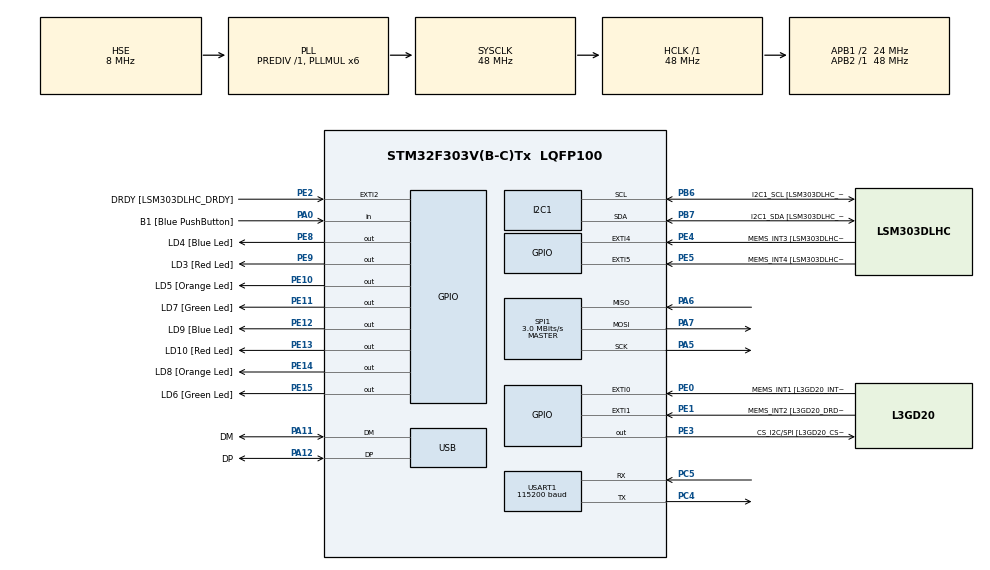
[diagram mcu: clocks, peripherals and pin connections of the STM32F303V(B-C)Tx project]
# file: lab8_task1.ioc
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I2C1.Timing=0x2000090E
I2C1.Timing-I2C=0x2000090E
Mcu.Family=STM32F3
Mcu.Name=STM32F303V(B-C)Tx
Mcu.Package=LQFP100
NVIC.PriorityGroup=NVIC_PRIORITYGROUP_0
NVIC.SPI1_IRQn=true\:0\:0\:false\:false\:true\:true\:true\:true
PA0.GPIO_Label=B1 [Blue PushButton]
PA0.Signal=GPIO_Input
PA11.GPIO_Label=DM
PA11.Mode=Device
PA11.Signal=USB_DM
PA12.GPIO_Label=DP
PA12.Mode=Device
PA12.Signal=USB_DP
PA13.GPIO_Label=SWDIO
PA13.Mode=Serial_Wire
PA13.Signal=SYS_JTMS-SWDIO
PA14.GPIO_Label=SWCLK
PA14.Mode=Serial_Wire
PA14.Signal=SYS_JTCK-SWCLK
PA5.GPIO_Mode=GPIO_MODE_AF_PP
PA5.GPIO_PuPd=GPIO_NOPULL
PA5.GPIO_Speed=GPIO_SPEED_FREQ_HIGH
PA5.Mode=Full_Duplex_Master
PA5.Signal=SPI1_SCK
PA6.GPIO_Mode=GPIO_MODE_AF_PP
PA6.GPIO_PuPd=GPIO_NOPULL
PA6.GPIO_Speed=GPIO_SPEED_FREQ_HIGH
PA6.Mode=Full_Duplex_Master
PA6.Signal=SPI1_MISO
PA7.GPIO_Mode=GPIO_MODE_AF_PP
PA7.GPIO_PuPd=GPIO_NOPULL
PA7.GPIO_Speed=GPIO_SPEED_FREQ_HIGH
PA7.Mode=Full_Duplex_Master
PA7.Signal=SPI1_MOSI
PB3.GPIO_Label=SWO
PB3.Signal=SYS_JTDO-TRACESWO
PB6.GPIO_Label=I2C1_SCL [LSM303DLHC_SCL]
PB6.GPIO_Pu=GPIO_PULLUP
PB6.Mode=I2C
PB6.Signal=I2C1_SCL
PB7.GPIO_Label=I2C1_SDA [LSM303DLHC_SDA]
PB7.GPIO_Pu=GPIO_PULLUP
PB7.Mode=I2C
PB7.Signal=I2C1_SDA
PC14-OSC32_IN.GPIO_Label=OSC32_IN
PC14-OSC32_IN.Signal=RCC_OSC32_IN
PC15-OSC32_OUT.GPIO_Label=OSC32_OUT
PC15-OSC32_OUT.Signal=RCC_OSC32_OUT
PC4.Mode=Asynchronous
PC4.Signal=USART1_TX
PC5.Mode=Asynchronous
PC5.Signal=USART1_RX
PE0.GPIO_Label=MEMS_INT1 [L3GD20_INT1]
PE0.GPIO_ModeDefaultEXTI=GPIO_MODE_EVT_RISING
PE0.Signal=GPXTI0
PE1.GPIO_Label=MEMS_INT2 [L3GD20_DRDY/INT2]
PE1.GPIO_ModeDefaultEXTI=GPIO_MODE_EVT_RISING
PE1.Signal=GPXTI1
PE10.GPIO_Label=LD5 [Orange Led]
PE10.Signal=GPIO_Output
PE11.GPIO_Label=LD7 [Green Led]
PE11.Signal=GPIO_Output
PE12.GPIO_Label=LD9 [Blue Led]
PE12.Signal=GPIO_Output
PE13.GPIO_Label=LD10 [Red Led]
PE13.Signal=GPIO_Output
PE14.GPIO_Label=LD8 [Orange Led]
PE14.Signal=GPIO_Output
PE15.GPIO_Label=LD6 [Green Led]
PE15.Signal=GPIO_Output
PE2.GPIO_Label=DRDY [LSM303DLHC_DRDY]
PE2.GPIO_ModeDefaultEXTI=GPIO_MODE_EVT_RISING
PE2.Signal=GPXTI2
PE3.GPIO_Label=CS_I2C/SPI [L3GD20_CS_I2C/SPI]
PE3.Signal=GPIO_Output
PE4.GPIO_Label=MEMS_INT3 [LSM303DLHC_INT1]
PE4.GPIO_ModeDefaultEXTI=GPIO_MODE_EVT_RISING
PE4.Signal=GPXTI4
PE5.GPIO_Label=MEMS_INT4 [LSM303DLHC_INT2]
PE5.GPIO_ModeDefaultEXTI=GPIO_MODE_EVT_RISING
PE5.Signal=GPXTI5
PE8.GPIO_Label=LD4 [Blue Led]
PE8.Signal=GPIO_Output
PE9.GPIO_Label=LD3 [Red Led]
PE9.Signal=GPIO_Output
PF0-OSC_IN.GPIO_Label=OSC_IN
PF0-OSC_IN.Mode=HSE-External-Clock-Source
PF0-OSC_IN.Signal=RCC_OSC_IN
PF1-OSC_OUT.GPIO_Label=OSC_OUT
PF1-OSC_OUT.Signal=RCC_OSC_OUT
ProjectManager.HeapSize=0x200
ProjectManager.StackSize=0x400
ProjectManager.TargetToolchain=CMake
RCC.AHBFreq_Value=48000000
RCC.APB1CLKDivider=RCC_HCLK_DIV2
RCC.APB1Freq_Value=24000000
RCC.APB1TimFreq_Value=48000000
RCC.APB2Freq_Value=48000000
RCC.APB2TimFreq_Value=48000000
RCC.CortexFreq_Value=48000000
RCC.HCLKFreq_Value=48000000
RCC.HSE_VALUE=8000000
RCC.HSI_VALUE=8000000
RCC.LSE_VALUE=32768
RCC.PLLMUL=RCC_PLL_MUL6
RCC.SYSCLKFreq_VALUE=48000000
RCC.SYSCLKSourceVirtual=RCC_SYSCLKSOURCE_PLLCLK
RCC.USBFreq_Value=48000000
SPI1.BaudRatePrescaler=SPI_BAUDRATEPRESCALER_16
SPI1.CLKPhase=SPI_PHASE_2EDGE
SPI1.CLKPolarity=SPI_POLARITY_HIGH
SPI1.CalculateBaudRate=3.0 MBits/s
SPI1.DataSize=SPI_DATASIZE_8BIT
SPI1.Direction=SPI_DIRECTION_2LINES
SPI1.Mode=SPI_MODE_MASTER
SPI1.VirtualType=VM_MASTER
USART1.BaudRate=115200
USART1.VirtualMode-Asynchronous=VM_ASYNC
board=STM32F3DISCOVERY

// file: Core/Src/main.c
/* USER CODE BEGIN Header */
/**
  ******************************************************************************
  * @file           : main.c
  * @brief          : Main program body
  ******************************************************************************
  * @attention
  *
  * Copyright (c) 2025 STMicroelectronics.
  * All rights reserved.
  *
  * This software is licensed under terms that can be found in the LICENSE file
  * in the root directory of this software component.
  * If no LICENSE file comes with this software, it is provided AS-IS.
  *
  ******************************************************************************
  */
/* USER CODE END Header */
#include "main.h"

/* USER CODE BEGIN Includes */
#include <stdio.h>
#include <string.h>
#define CTRL_REG1      0x20
#define CTRL_REG1_VAL  0b00001111
/* USER CODE END Includes */

I2C_HandleTypeDef hi2c1;

SPI_HandleTypeDef hspi1;

UART_HandleTypeDef huart1;

PCD_HandleTypeDef hpcd_USB_FS;

/* USER CODE BEGIN PV */
volatile uint8_t spi_tx_cmd;
volatile uint8_t spi_rx_byte;
volatile uint8_t spi_busy = 0;
volatile int8_t latest_temp = 0;
volatile uint8_t temp_ready = 0;
/* USER CODE END PV */

void SystemClock_Config(void);
static void MX_GPIO_Init(void);
static void MX_I2C1_Init(void);
static void MX_SPI1_Init(void);
static void MX_USB_PCD_Init(void);
static void MX_USART1_UART_Init(void);
/* USER CODE BEGIN PFP */
uint8_t ReadWHOAMI(void);
void gyro_init(void);
void start_temp_read(void);
void read_gyro_axes(void);                         // task3
void HAL_SPI_TxCpltCallback(SPI_HandleTypeDef *hspi);
void HAL_SPI_RxCpltCallback(SPI_HandleTypeDef *hspi);
/* USER CODE END PFP */

int main(void)
{

  /* MCU Configuration--------------------------------------------------------*/

  /* Reset of all peripherals, Initializes the Flash interface and the Systick. */
  HAL_Init();

  /* Configure the system clock */
  SystemClock_Config();

  /* Initialize all configured peripherals */
  MX_GPIO_Init();
  MX_I2C1_Init();
  MX_SPI1_Init();
  MX_USB_PCD_Init();
  MX_USART1_UART_Init();
  /* USER CODE BEGIN 2 */
  gyro_init();
  // HAL_Delay(100);
  /* USER CODE END 2 */

  /* Infinite loop */
  while (1)
  {

    /* USER CODE BEGIN 3 */
    // uint8_t whoAmI = ReadWHOAMI();
    // char buffer[50];
    // sprintf(buffer, "WHO_AM_I = 0x%02X\r\n", whoAmI);
    // HAL_UART_Transmit(&huart1, (uint8_t*)buffer, strlen(buffer), HAL_MAX_DELAY);
    // HAL_Delay(1000);
    start_temp_read();
    if (temp_ready)
        {
            temp_ready = 0;  // Reset flag

            // Now read X,Y,Z axes (blocking) and transmit CSV line
            read_gyro_axes();

            // small delay to control rate (optional)
            HAL_Delay(100);  // send roughly 5-10 samples/sec (temperature itself updates ~1 Hz)
        }

  }
  /* USER CODE END 3 */
}

void SystemClock_Config(void)
{
  RCC_OscInitTypeDef RCC_OscInitStruct = {0};
  RCC_ClkInitTypeDef RCC_ClkInitStruct = {0};
  RCC_PeriphCLKInitTypeDef PeriphClkInit = {0};

  /** Initializes the RCC Oscillators according to the specified parameters
  * in the RCC_OscInitTypeDef structure.
  */
  RCC_OscInitStruct.OscillatorType = RCC_OSCILLATORTYPE_HSI|RCC_OSCILLATORTYPE_HSE;
  RCC_OscInitStruct.HSEState = RCC_HSE_BYPASS;
  RCC_OscInitStruct.HSEPredivValue = RCC_HSE_PREDIV_DIV1;
  RCC_OscInitStruct.HSIState = RCC_HSI_ON;
  RCC_OscInitStruct.HSICalibrationValue = RCC_HSICALIBRATION_DEFAULT;
  RCC_OscInitStruct.PLL.PLLState = RCC_PLL_ON;
  RCC_OscInitStruct.PLL.PLLSource = RCC_PLLSOURCE_HSE;
  RCC_OscInitStruct.PLL.PLLMUL = RCC_PLL_MUL6;
  if (HAL_RCC_OscConfig(&RCC_OscInitStruct) != HAL_OK)
  {
    Error_Handler();
  }

  /** Initializes the CPU, AHB and APB buses clocks
  */
  RCC_ClkInitStruct.ClockType = RCC_CLOCKTYPE_HCLK|RCC_CLOCKTYPE_SYSCLK
                              |RCC_CLOCKTYPE_PCLK1|RCC_CLOCKTYPE_PCLK2;
  RCC_ClkInitStruct.SYSCLKSource = RCC_SYSCLKSOURCE_PLLCLK;
  RCC_ClkInitStruct.AHBCLKDivider = RCC_SYSCLK_DIV1;
  RCC_ClkInitStruct.APB1CLKDivider = RCC_HCLK_DIV2;
  RCC_ClkInitStruct.APB2CLKDivider = RCC_HCLK_DIV1;

  if (HAL_RCC_ClockConfig(&RCC_ClkInitStruct, FLASH_LATENCY_1) != HAL_OK)
  {
    Error_Handler();
  }
  PeriphClkInit.PeriphClockSelection = RCC_PERIPHCLK_USB|RCC_PERIPHCLK_USART1
                              |RCC_PERIPHCLK_I2C1;
  PeriphClkInit.Usart1ClockSelection = RCC_USART1CLKSOURCE_PCLK2;
  PeriphClkInit.I2c1ClockSelection = RCC_I2C1CLKSOURCE_HSI;
  PeriphClkInit.USBClockSelection = RCC_USBCLKSOURCE_PLL;
  if (HAL_RCCEx_PeriphCLKConfig(&PeriphClkInit) != HAL_OK)
  {
    Error_Handler();
  }
}

static void MX_I2C1_Init(void)
{

  hi2c1.Instance = I2C1;
  hi2c1.Init.Timing = 0x2000090E;
  hi2c1.Init.OwnAddress1 = 0;
  hi2c1.Init.AddressingMode = I2C_ADDRESSINGMODE_7BIT;
  hi2c1.Init.DualAddressMode = I2C_DUALADDRESS_DISABLE;
  hi2c1.Init.OwnAddress2 = 0;
  hi2c1.Init.OwnAddress2Masks = I2C_OA2_NOMASK;
  hi2c1.Init.GeneralCallMode = I2C_GENERALCALL_DISABLE;
  hi2c1.Init.NoStretchMode = I2C_NOSTRETCH_DISABLE;
  if (HAL_I2C_Init(&hi2c1) != HAL_OK)
  {
    Error_Handler();
  }

  /** Configure Analogue filter
  */
  if (HAL_I2CEx_ConfigAnalogFilter(&hi2c1, I2C_ANALOGFILTER_ENABLE) != HAL_OK)
  {
    Error_Handler();
  }

  /** Configure Digital filter
  */
  if (HAL_I2CEx_ConfigDigitalFilter(&hi2c1, 0) != HAL_OK)
  {
    Error_Handler();
  }

}

static void MX_SPI1_Init(void)
{

  /* SPI1 parameter configuration*/
  hspi1.Instance = SPI1;
  hspi1.Init.Mode = SPI_MODE_MASTER;
  hspi1.Init.Direction = SPI_DIRECTION_2LINES;
  hspi1.Init.DataSize = SPI_DATASIZE_8BIT;
  hspi1.Init.CLKPolarity = SPI_POLARITY_HIGH;
  hspi1.Init.CLKPhase = SPI_PHASE_2EDGE;
  hspi1.Init.NSS = SPI_NSS_SOFT;
  hspi1.Init.BaudRatePrescaler = SPI_BAUDRATEPRESCALER_16;
  hspi1.Init.FirstBit = SPI_FIRSTBIT_MSB;
  hspi1.Init.TIMode = SPI_TIMODE_DISABLE;
  hspi1.Init.CRCCalculation = SPI_CRCCALCULATION_DISABLE;
  hspi1.Init.CRCPolynomial = 7;
  hspi1.Init.CRCLength = SPI_CRC_LENGTH_DATASIZE;
  hspi1.Init.NSSPMode = SPI_NSS_PULSE_DISABLE;
  if (HAL_SPI_Init(&hspi1) != HAL_OK)
  {
    Error_Handler();
  }

}

static void MX_USART1_UART_Init(void)
{

  huart1.Instance = USART1;
  huart1.Init.BaudRate = 115200;
  huart1.Init.WordLength = UART_WORDLENGTH_8B;
  huart1.Init.StopBits = UART_STOPBITS_1;
  huart1.Init.Parity = UART_PARITY_NONE;
  huart1.Init.Mode = UART_MODE_TX_RX;
  huart1.Init.HwFlowCtl = UART_HWCONTROL_NONE;
  huart1.Init.OverSampling = UART_OVERSAMPLING_16;
  huart1.Init.OneBitSampling = UART_ONE_BIT_SAMPLE_DISABLE;
  huart1.AdvancedInit.AdvFeatureInit = UART_ADVFEATURE_NO_INIT;
  if (HAL_UART_Init(&huart1) != HAL_OK)
  {
    Error_Handler();
  }

}

static void MX_USB_PCD_Init(void)
{

  hpcd_USB_FS.Instance = USB;
  hpcd_USB_FS.Init.dev_endpoints = 8;
  hpcd_USB_FS.Init.speed = PCD_SPEED_FULL;
  hpcd_USB_FS.Init.phy_itface = PCD_PHY_EMBEDDED;
  hpcd_USB_FS.Init.low_power_enable = DISABLE;
  hpcd_USB_FS.Init.battery_charging_enable = DISABLE;
  if (HAL_PCD_Init(&hpcd_USB_FS) != HAL_OK)
  {
    Error_Handler();
  }

}

static void MX_GPIO_Init(void)
{
  GPIO_InitTypeDef GPIO_InitStruct = {0};

  /* GPIO Ports Clock Enable */
  __HAL_RCC_GPIOE_CLK_ENABLE();
  __HAL_RCC_GPIOC_CLK_ENABLE();
  __HAL_RCC_GPIOF_CLK_ENABLE();
  __HAL_RCC_GPIOA_CLK_ENABLE();
  __HAL_RCC_GPIOB_CLK_ENABLE();

  /*Configure GPIO pin Output Level */
  HAL_GPIO_WritePin(GPIOE, CS_I2C_SPI_Pin|LD4_Pin|LD3_Pin|LD5_Pin
                          |LD7_Pin|LD9_Pin|LD10_Pin|LD8_Pin
                          |LD6_Pin, GPIO_PIN_RESET);

  /*Configure GPIO pins : DRDY_Pin MEMS_INT3_Pin MEMS_INT4_Pin MEMS_INT1_Pin
                           MEMS_INT2_Pin */
  GPIO_InitStruct.Pin = DRDY_Pin|MEMS_INT3_Pin|MEMS_INT4_Pin|MEMS_INT1_Pin
                          |MEMS_INT2_Pin;
  GPIO_InitStruct.Mode = GPIO_MODE_EVT_RISING;
  GPIO_InitStruct.Pull = GPIO_NOPULL;
  HAL_GPIO_Init(GPIOE, &GPIO_InitStruct);

  /*Configure GPIO pins : CS_I2C_SPI_Pin LD4_Pin LD3_Pin LD5_Pin
                           LD7_Pin LD9_Pin LD10_Pin LD8_Pin
                           LD6_Pin */
  GPIO_InitStruct.Pin = CS_I2C_SPI_Pin|LD4_Pin|LD3_Pin|LD5_Pin
                          |LD7_Pin|LD9_Pin|LD10_Pin|LD8_Pin
                          |LD6_Pin;
  GPIO_InitStruct.Mode = GPIO_MODE_OUTPUT_PP;
  GPIO_InitStruct.Pull = GPIO_NOPULL;
  GPIO_InitStruct.Speed = GPIO_SPEED_FREQ_LOW;
  HAL_GPIO_Init(GPIOE, &GPIO_InitStruct);

  /*Configure GPIO pin : B1_Pin */
  GPIO_InitStruct.Pin = B1_Pin;
  GPIO_InitStruct.Mode = GPIO_MODE_INPUT;
  GPIO_InitStruct.Pull = GPIO_NOPULL;
  HAL_GPIO_Init(B1_GPIO_Port, &GPIO_InitStruct);

}

/* USER CODE BEGIN 4 */
uint8_t ReadWHOAMI(void)
{
    uint8_t cmd = 0x8F; // Read command for WHO_AM_I (0x0F)
    uint8_t receivedData = 0x00;

    // Pull CS low to select the device
    HAL_GPIO_WritePin(GPIOE, GPIO_PIN_3, GPIO_PIN_RESET);

    // Send command and receive data
    HAL_SPI_Transmit(&hspi1, &cmd, 1, HAL_MAX_DELAY);
    HAL_SPI_Receive(&hspi1, &receivedData, 1, HAL_MAX_DELAY);

    // Pull CS high to release the device
    HAL_GPIO_WritePin(GPIOE, GPIO_PIN_3, GPIO_PIN_SET);

    return receivedData;
}

/* USER CODE BEGIN 4 */
void HAL_SPI_TxCpltCallback(SPI_HandleTypeDef *hspi)
{
    if (hspi->Instance == SPI1)
    {
        // After sending command byte, start receiving the temperature byte
        HAL_SPI_Receive_IT(&hspi1, (uint8_t*)&spi_rx_byte, 1);
    }
}

void HAL_SPI_RxCpltCallback(SPI_HandleTypeDef *hspi)
{
    if (hspi->Instance == SPI1)
    {
        // End of SPI transaction
        HAL_GPIO_WritePin(GPIOE, GPIO_PIN_3, GPIO_PIN_SET); // CS HIGH

        // convert to signed int8 (two's complement)
        latest_temp = (int8_t)spi_rx_byte;

        // set flag for main loop to send over UART
        temp_ready = 1;

        // ready for next transaction
        spi_busy = 0;
    }
}

void gyro_init(void)
{
    uint8_t tx[2] = { CTRL_REG1, CTRL_REG1_VAL };

    // Pull CS low to begin communication
    HAL_GPIO_WritePin(GPIOE, GPIO_PIN_3, GPIO_PIN_RESET);

    // Send control register configuration
    HAL_SPI_Transmit(&hspi1, tx, 2, HAL_MAX_DELAY);

    // Pull CS high to end communication
    HAL_GPIO_WritePin(GPIOE, GPIO_PIN_3, GPIO_PIN_SET);
}

void start_temp_read(void)
{
    if (spi_busy)
        return;

    spi_busy = 1;
    uint8_t temp_reg = 0x26 | 0x80;  // Read from OUT_TEMP (0x26) with read bit

    // CS LOW
    HAL_GPIO_WritePin(GPIOE, GPIO_PIN_3, GPIO_PIN_RESET);

    // Transmit command byte in interrupt mode
    HAL_SPI_Transmit_IT(&hspi1, (uint8_t*)&temp_reg, 1);
}

void read_gyro_axes(void)
{
    uint8_t cmd = (0x28 | 0xC0); // 0x80 read + 0x40 auto-increment + start addr 0x28 => 0xC8 (0x28|0xC0)
    uint8_t axis_raw[6];
    int16_t x_raw, y_raw, z_raw;
    float x_dps, y_dps, z_dps;

    // Select device (CS LOW)
    HAL_GPIO_WritePin(GPIOE, GPIO_PIN_3, GPIO_PIN_RESET);

    // Send start register (blocking)
    if (HAL_SPI_Transmit(&hspi1, &cmd, 1, HAL_MAX_DELAY) != HAL_OK) {
        // error handling: release CS and return
        HAL_GPIO_WritePin(GPIOE, GPIO_PIN_3, GPIO_PIN_SET);
        return;
    }

    // Read 6 bytes: XL,XH,YL,YH,ZL,ZH (blocking)
    if (HAL_SPI_Receive(&hspi1, axis_raw, 6, HAL_MAX_DELAY) != HAL_OK) {
        HAL_GPIO_WritePin(GPIOE, GPIO_PIN_3, GPIO_PIN_SET);
        return;
    }

    // Deselect device (CS HIGH)
    HAL_GPIO_WritePin(GPIOE, GPIO_PIN_3, GPIO_PIN_SET);

    // Merge low/high (note: device is little-endian: low byte first)
    x_raw = (int16_t)((axis_raw[1] << 8) | axis_raw[0]);
    y_raw = (int16_t)((axis_raw[3] << 8) | axis_raw[2]);
    z_raw = (int16_t)((axis_raw[5] << 8) | axis_raw[4]);

    // Convert to dps (sensitivity for ±245 dps = 0.00875 dps/LSB)
    x_dps = (float)x_raw * 0.00875f;
    y_dps = (float)y_raw * 0.00875f;
    z_dps = (float)z_raw * 0.00875f;

    // Build CSV string and send via UART: "<temp>, <x_dps>, <y_dps>, <z_dps>\r\n"
    char outbuf[80];
    int len = snprintf(outbuf, sizeof(outbuf), "%d, %.2f, %.2f, %.2f\r\n",
                       (int)latest_temp, x_dps, y_dps, z_dps);
    if (len > 0) {
        HAL_UART_Transmit(&huart1, (uint8_t*)outbuf, (uint16_t)len, HAL_MAX_DELAY);
    }
}

/* USER CODE END 4 */

void Error_Handler(void)
{
  __disable_irq();
  while (1)
  {
  }
}
